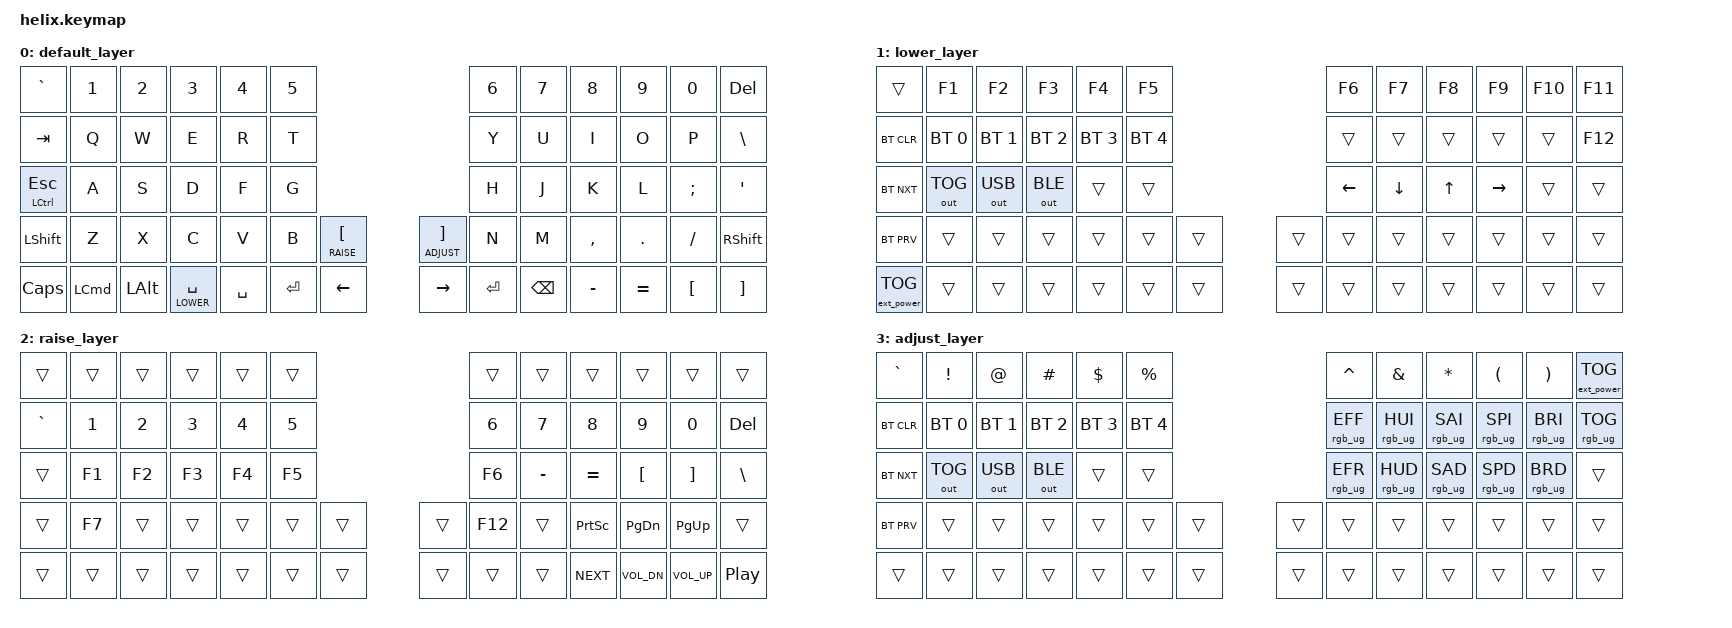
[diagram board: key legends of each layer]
/*
 * Copyright (c) 2020 The ZMK Contributors
 *
 * SPDX-License-Identifier: MIT
 */

 #include <behaviors.dtsi>
 #include <dt-bindings/zmk/keys.h>
 #include <dt-bindings/zmk/bt.h>
 #include <dt-bindings/zmk/rgb.h>
 #include <dt-bindings/zmk/ext_power.h>
 #include <dt-bindings/zmk/outputs.h>

 #define DEFAULT 0
 #define LOWER  1
 #define RAISE  2
 #define ADJUST 3

/* NOTE: At the time of the creation of this keymap, there are no specified codes for 'eisuu' and 'kana' input in ZMK.
However, 'LANG1' and 'LANG2' are fully-functioning candidates for 'kana' and 'eisuu' input respectively.
As such, those are in use within the default layer at this time.*/

&mt {
    tapping-term-ms = <150>;
};

/{
       keymap {
              compatible = "zmk,keymap";
 
              default_layer {
 // ---------------------------------------------------------------------------------------------------------------------------------
 // | GRAVE  |   1    |   2    |   3    |   4    |   5    |                                      |   6    |   7    |   8    |   9    |   0    |  DEL   |
 // |  TAB   |   Q    |   W    |   E    |   R    |   T    |                                      |   Y    |   U    |   I    |   O    |   P    |  |\    |
 // |  CTRL  |   A    |   S    |   D    |   F    |   G    |                                      |   H    |   J    |   K    |   L    |   ;    |   '    |
 // |  SHIFT |   Z    |   X    |   C    |   V    |   B    |  LBKT  |                    |  RBKT  |   N    |   M    |   ,    |   .    |   /    |  SHIFT |
 // |  CAPS  |  CMD   |  ALT   |  SPACE |  SPACE | ENTER  |  LEFT  |                    |  RIGHT | ENTER  |  BSPC  |   -_   |   =+   |   [{   |  }]    |
                     bindings = <
       &kp GRAVE     &kp N1   &kp N2   &kp N3          &kp N4    &kp N5                                            &kp N6  &kp N7   &kp N8    &kp N9     &kp N0    &kp DEL
       &kp TAB       &kp Q    &kp W    &kp E           &kp R     &kp T                                             &kp Y   &kp U    &kp I     &kp O      &kp P     &kp BSLH
       &mt LCTRL ESC &kp A    &kp S    &kp D           &kp F     &kp G                                             &kp H   &kp J    &kp K     &kp L      &kp SEMI  &kp SQT
       &kp LSHFT     &kp Z    &kp X    &kp C           &kp V     &kp B   &lt RAISE LBKT           &lt ADJUST RBKT  &kp N   &kp M    &kp COMMA &kp PERIOD &kp SLASH &kp RSHIFT
       &kp CAPS      &kp LCMD &kp LALT &lt LOWER SPACE &kp SPACE &kp RET &kp LEFT                 &kp RIGHT        &kp RET &kp BSPC &kp MINUS &kp EQUAL  &kp LBKT  &kp RBKT
                     >;
              };
              lower_layer {
 // ---------------------------------------------------------------------------------------------------------------------------------
 // |      |  F1    |  F2    |  F3    |  F4     |  F5    |                                    |  F6  |  F7  |  F8  |  F9  |  F10 |  F11 |
 // |BT CLR| BT SEL0| BT SEL1| BT SEL2| BGT SEL3| BT SEL4|                                    |      |      |      |      |      |  F12 |
 // |BT NXT| OUT TOG| OUT USB| OUT BLE|         |        |                                    | LEFT | DOWN |  UP  | RIGTH|      |      |
 // |BT PRV|        |        |        |         |        |        |                    |      |      |      |      |      |      |      |
 // |EP_TOG|        |        |        |         |        |        |                    |      |      |      |      |      |      |      |
                     bindings = <
       &trans            &kp F1       &kp F2       &kp F3       &kp F4       &kp F5                             &kp F6    &kp F7    &kp F8    &kp F9    &kp F10  &kp F11
       &bt BT_CLR        &bt BT_SEL 0 &bt BT_SEL 1 &bt BT_SEL 2 &bt BT_SEL 3 &bt BT_SEL 4                       &trans    &trans    &trans    &trans    &trans   &kp F12
       &bt BT_NXT        &out OUT_TOG &out OUT_USB &out OUT_BLE &trans       &trans                             &kp LEFT  &kp DOWN  &kp UP    &kp RIGHT &trans   &trans  
       &bt BT_PRV        &trans       &trans       &trans       &trans       &trans    &trans          &trans   &trans    &trans    &trans    &trans    &trans   &trans
       &ext_power EP_TOG &trans       &trans       &trans       &trans       &trans    &trans          &trans   &trans    &trans    &trans    &trans    &trans   &trans
                     >;
              };
              raise_layer {
 // ---------------------------------------------------------------------------------------------------------------------------------
 // |       |       |       |       |       |       |                                    |       |       |       |       |       |       |
 // |   `   |   1   |   2   |   3   |   4   |   5   |                                    |   6   |   7   |   8   |   9   |   0   |  DEL  |
 // |       |  F1   |  F2   |  F3   |  F4   |  F5   |                                    |  F6   |   -   |   =   |   [   |   ]   |   \   |
 // |       |  F7   |  F8   |  F9   |  F10  |  F11  |       |                    |       |  F12  |       | PSCRN | PG_DN | PG_UP |       |
 // |       |       |       |       |       |       |       |                    |       |       |       | NEXT  | VOL-  | VOL+  | PLAY  |
                     bindings = <
       &trans    &trans &trans &trans &trans    &trans                        &trans  &trans    &trans     &trans       &trans       &trans
       &kp GRAVE &kp N1 &kp N2 &kp N3 &kp N4    &kp N5                        &kp N6  &kp N7    &kp N8     &kp N9       &kp N0       &kp DEL
       &trans    &kp F1 &kp F2 &kp F3 &kp F4    &kp F5                        &kp F6  &kp MINUS &kp EQUAL  &kp LBKT     &kp RBKT     &kp BSLH
       &trans    &kp F7 &trans &trans &trans    &trans      &trans        &trans &kp F12 &trans    &kp PSCRN  &kp PG_DN    &kp PG_UP    &trans
       &trans    &trans &trans &trans &trans    &trans      &trans        &trans &trans  &trans    &kp C_NEXT &kp C_VOL_DN &kp C_VOL_UP &kp C_PP
                     >;
              };
              adjust_layer {
 // ---------------------------------------------------------------------------------------------------------------------------------
 // |    `     |    !     |    @     |    #     |    $     |    %     |                                          |    ^     |    &     |    *     |    (     |    )     |  EP TOG  |
 // |  BT CLR  | BT SEL0  | BT SEL1  | BT SEL2  | BGT SEL3 | BT SEL4  |                                          | RGB EFF+ | RGB HUE+ | RGB SAT+ | RGB SPD+ | RGB BRI+ | RGB TOG  |
 // |  BT NXT  | OUT TOG  | OUT USB  | OUT BLE  |          |          |                                          | RGB EFF- | RGB HUE- | RGB SAT- | RGB SPD- | RGB BRI- |          |
 // |  BT PRV  |          |          |          |          |          |          |                    |          |          |          |          |          |          |          |
 // |          |          |          |          |          |          |          |                    |          |          |          |          |          |          |          |
                     bindings = <
       &kp GRAVE  &kp EXCL     &kp AT       &kp HASH     &kp DLLR     &kp PRCNT                             &kp CARET          &kp AMPS          &kp ASTRK       &kp LPAR        &kp RPAR        &ext_power EP_TOG
       &bt BT_CLR &bt BT_SEL 0 &bt BT_SEL 1 &bt BT_SEL 2 &bt BT_SEL 3 &bt BT_SEL 4                          &rgb_ug RGB_EFF    &rgb_ug RGB_HUI   &rgb_ug RGB_SAI &rgb_ug RGB_SPI &rgb_ug RGB_BRI &rgb_ug RGB_TOG 
       &bt BT_NXT &out OUT_TOG &out OUT_USB &out OUT_BLE &trans       &trans                                &rgb_ug RGB_EFR    &rgb_ug RGB_HUD   &rgb_ug RGB_SAD &rgb_ug RGB_SPD &rgb_ug RGB_BRD &trans
       &bt BT_PRV &trans       &trans       &trans       &trans       &trans       &trans          &trans   &trans             &trans            &trans          &trans          &trans          &trans
       &trans     &trans       &trans       &trans       &trans       &trans       &trans          &trans   &trans             &trans            &trans          &trans          &trans          &trans
                     >;
              };
       };
};
